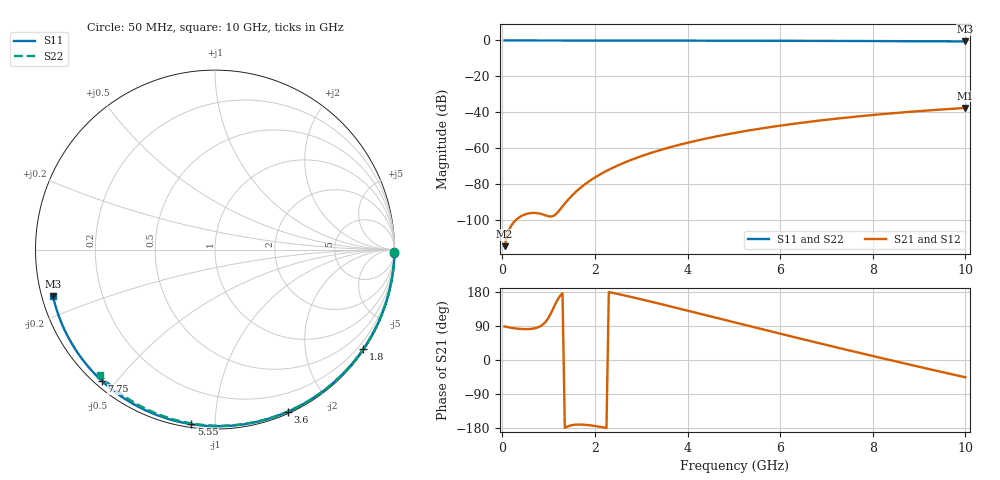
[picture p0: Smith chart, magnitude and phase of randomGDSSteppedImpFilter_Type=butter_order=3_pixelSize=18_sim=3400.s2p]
! freq	dB(S11)	phase(S11)	dB(S12)	phase(S12)
!  dB(S21)	phase(S21)	dB(S22)	phase(S22)
!S-par simulation data
#  GHz  S  DB  R 50
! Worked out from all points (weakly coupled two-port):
!   200 points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, 50 MHz to 10 GHz, reference 50 ohm
!   highest |S21| = -37.50 dB at 10 GHz (marker M1); lowest = -114.3 dB at 50 MHz (marker M2)
!   lowest |S11| = -0.5 dB at 10 GHz (marker M3), VSWR 32.04, Z = 1.59 - j7.06 ohm
!   |S11| at or under -10 dB: nowhere
!   |S22| runs from -0.4 to 0.0 dB; largest |S21 - S12| = 0
!   S11 on the Smith chart (normalised r, x): 50 MHz: open; 1.8 GHz: 0.03, -3.28; 3.6 GHz: 0.02, -1.54; 5.55 GHz: 0.02, -0.87; 7.75 GHz: 0.02, -0.46; 10 GHz: 0.03, -0.14
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0.05  -0.00 -1.0  -114.31 88.6  -114.31 88.6  -0.00 -0.8
0.45  -0.01 -8.6  -97.07 81.6  -97.07 81.6  -0.01 -6.9
0.85  -0.02 -16.2  -96.48 91.3  -96.48 91.3  -0.02 -12.9
1.3  -0.03 -24.7  -92.24 176.0  -92.24 176.0  -0.02 -19.7
1.75  -0.04 -33.0  -80.58 -170.7  -80.58 -170.7  -0.03 -26.4
1.8  -0.04 -33.9  -79.61 -171.1  -79.61 -171.1  -0.03 -27.1
1.95  -0.05 -36.7  -76.95 -173.2  -76.95 -173.2  -0.04 -29.3
2.1  -0.05 -39.4  -74.60 -176.1  -74.60 -176.1  -0.04 -31.5
2.3  -0.06 -43.0  -71.84 179.3  -71.84 179.3  -0.04 -34.5
2.5  -0.06 -46.6  -69.40 174.1  -69.40 174.1  -0.05 -37.4
2.9  -0.07 -53.7  -65.23 163.1  -65.23 163.1  -0.06 -43.1
3.4  -0.08 -62.4  -60.98 148.4  -60.98 148.4  -0.07 -50.2
3.6  -0.09 -65.9  -59.50 142.4  -59.50 142.4  -0.07 -53.0
4.3  -0.11 -77.6  -55.06 121.1  -55.06 121.1  -0.09 -62.7
5.05  -0.14 -89.8  -51.23 98.2  -51.23 98.2  -0.11 -72.7
5.55  -0.16 -97.7  -49.07 83.0  -49.07 83.0  -0.13 -79.2
6.1  -0.19 -106.2  -46.98 66.4  -46.98 66.4  -0.15 -86.2
6.7  -0.22 -115.2  -44.98 48.5  -44.98 48.5  -0.18 -93.7
7.75  -0.30 -130.8  -42.03 17.7  -42.03 17.7  -0.24 -106.4
8.35  -0.36 -139.6  -40.62 0.5  -40.62 0.5  -0.29 -113.4
9.2  -0.45 -152.0  -38.88 -23.5  -38.88 -23.5  -0.36 -123.3
10  -0.54 -163.9  -37.50 -45.7  -37.50 -45.7  -0.45 -132.5
